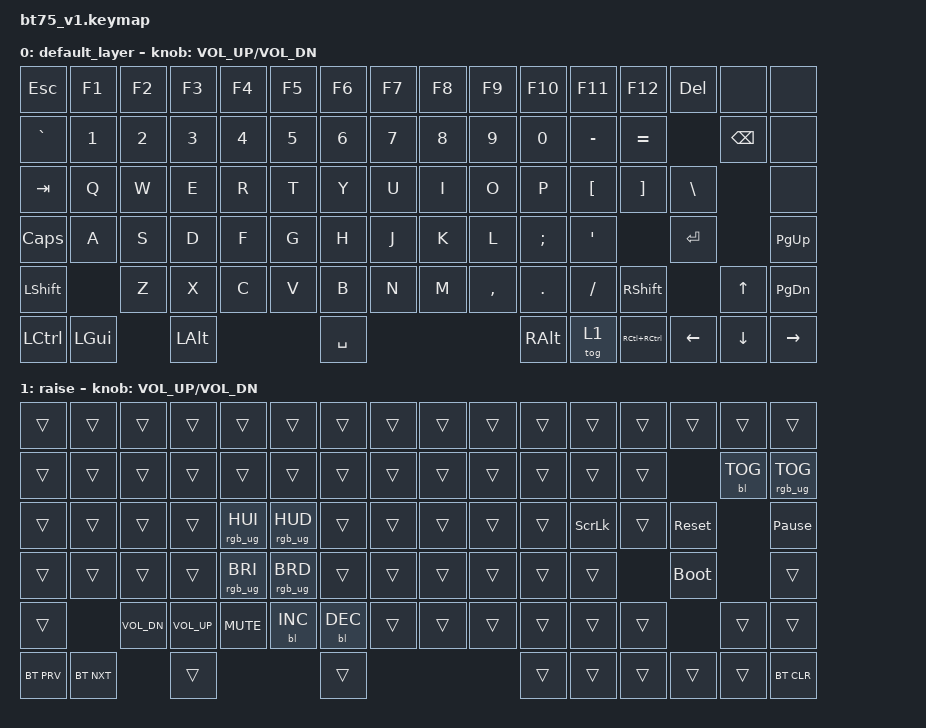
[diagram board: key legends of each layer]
#include <behaviors.dtsi>
#include <dt-bindings/zmk/backlight.h>
#include <dt-bindings/zmk/bt.h>
#include <dt-bindings/zmk/keys.h>
#include <dt-bindings/zmk/rgb.h>

#define ANSI

//#define ISO
//#define ALL_1U

/ {
    chosen {
        #ifdef ANSI

        zmk,physical-layout = &layout_75_ansi;

        #elif defined(ISO)

        zmk,physical-layout = &layout_75_iso;

        #elif defined(ALL_1U)

        zmk,physical-layout = &layout_75_all1u;

        #else
  #error "Layout not defined, please define a layout using by uncommenting the appropriate line in bt75_v1.keymap"
  #endif
    };

    keymap {
        compatible = "zmk,keymap";

        #ifdef ANSI

        default_layer {
            // ------------------------------------------------------------------------------------------------
            // | ESC | F1  | F2  | F3  | F4  | F5  | F6  | F7  | F9  | F9  | F10 | F11 | F12 |PSCRN|HOME| END |
            // |GRAVE|  1  |  2  |  3  |  4  |  5  |  6  |  7  |  8  |  9  |  0  |  -  |  =  |   BSPC   | DEL |
            // | TAB   |  Q  |  W  |  E  |  R  |  T  |  Y  |  U  |  I  |  O  |  P  |  [  |  ]  |   \    | INS |
            // | CAPS   |  A  |  S  |  D  |  F  |  G  |  H  |  J  |  K  |  L  |  ;  |  '  |    ENTER    | PGUP|
            // |  SHIFT   |  Z  |  X  |  C  |  V  |  B  |  N  |  M  |  ,  |  .  |  /  |   SHIFT   | UP  | PGDN|
            // |  CTL  |  WIN  |  ALT  |             SPACE                | ALT |  1  |RCTRL| LEFT| DOWN|RIGHT|
            // ------------------------------------------------------------------------------------------------

            bindings = <
&kp ESC    &kp F1    &kp F2  &kp F3    &kp F4  &kp F5  &kp F6     &kp F7  &kp F8  &kp F9     &kp F10        &kp F11    &kp F12        &kp DELETE  &none     &none
&kp GRAVE  &kp N1    &kp N2  &kp N3    &kp N4  &kp N5  &kp N6     &kp N7  &kp N8  &kp N9     &kp N0         &kp MINUS  &kp EQUAL                  &kp BSPC  &none
&kp TAB    &kp Q     &kp W   &kp E     &kp R   &kp T   &kp Y      &kp U   &kp I   &kp O      &kp P          &kp LBKT   &kp RBKT       &kp BSLH              &none
&kp CLCK   &kp A     &kp S   &kp D     &kp F   &kp G   &kp H      &kp J   &kp K   &kp L      &kp SEMI       &kp SQT                   &kp RET               &kp PG_UP
&kp LSHFT            &kp Z   &kp X     &kp C   &kp V   &kp B      &kp N   &kp M   &kp COMMA  &kp DOT        &kp FSLH   &kp RSHFT                  &kp UP    &kp PG_DN
&kp LCTRL  &kp LGUI          &kp LALT                  &kp SPACE                             &kp RIGHT_ALT  &tog 1     &kp RC(RCTRL)  &kp LEFT    &kp DOWN  &kp RIGHT
            >;

            sensor-bindings = <&inc_dec_kp C_VOL_UP C_VOL_DN>;
        };

        raise {
            // --------------------------------------------------------------------------------------------------
            // | ESC | F1  | F2  | F3  | F4  | F5  | F6  | F7  | F9  | F9  | F10 | F11 | F12 |PSCRN| HOME| END |
            // |GRAVE|  1  |  2  |  3  |  4  |  5  |  6  |  7  |  8  |  9  |  0  |  -  |  =  |  BL_TOG  |RGB_TOG|
            // | TAB  |  Q  |  W  |  E  | HUI | HUD |  Y  |  U  |  I  |  O  |  P  | SLCK|  ]  |  RESET   | P_BRK|
            // | CAPS  |  A  |  S  |  D  | BRI | BRD |  H  |  J  |  K  |  L  |  ;  |  '  |     BOOT      | PG_UP|
            // |  SHIFT   |VOLDN|VOLUP| MUTE|BLINC|BLDEC|  N  |  M  |  ,  |  .  |  /  |    SHIFT  | UP   | PG_DN|
            // | BT_PRV| BT_NXT|  ALT  |            SPACE               | ALT |  1  | CTRL | LEFT | DOWN |BT_CLR|
            // --------------------------------------------------------------------------------------------------

            bindings = <
&trans      &trans      &trans        &trans        &trans           &trans           &trans      &trans  &trans  &trans  &trans  &trans    &trans  &trans       &trans      &trans
&trans      &trans      &trans        &trans        &trans           &trans           &trans      &trans  &trans  &trans  &trans  &trans    &trans               &bl BL_TOG  &rgb_ug RGB_TOG
&trans      &trans      &trans        &trans        &rgb_ug RGB_HUI  &rgb_ug RGB_HUD  &trans      &trans  &trans  &trans  &trans  &kp SLCK  &trans  &sys_reset               &kp PAUSE_BREAK
&trans      &trans      &trans        &trans        &rgb_ug RGB_BRI  &rgb_ug RGB_BRD  &trans      &trans  &trans  &trans  &trans  &trans            &bootloader              &trans
&trans                  &kp C_VOL_DN  &kp C_VOL_UP  &kp C_MUTE       &bl BL_INC       &bl BL_DEC  &trans  &trans  &trans  &trans  &trans    &trans               &trans      &trans
&bt BT_PRV  &bt BT_NXT                &trans                                          &trans                              &trans  &trans    &trans  &trans       &trans      &bt BT_CLR
            >;

            sensor-bindings = <&inc_dec_kp C_VOL_UP C_VOL_DN>;
        };

        #elif defined(ISO)

        default_layer {
            // ------------------------------------------------------------------------------------------------
            // | ESC | F1  | F2  | F3  | F4  | F5  | F6  | F7  | F9  | F9  | F10 | F11 | F12 |PSCRN|HOME| END |
            // |GRAVE|  1  |  2  |  3  |  4  |  5  |  6  |  7  |  8  |  9  |  0  |  -  |  =  |   BSPC   | DEL |
            // | TAB   |  Q  |  W  |  E  |  R  |  T  |  Y  |  U  |  I  |  O  |  P  |  [  |  ]  |        | INS |
            // | CAPS   |  A  |  S  |  D  |  F  |  G  |  H  |  J  |  K  |  L  |  ;  |  '  |  #  | ENTER | PGUP|
            // |SHIFT |  \  |  Z  |  X  |  C  |  V  |  B  |  N  |  M  |  ,  |  .  |  /  |  SHIFT  | UP  | PGDN|
            // |  CTL  |  WIN  |  ALT  |             SPACE                | ALT |  1  |RCTRL| LEFT| DOWN|RIGHT|
            // ------------------------------------------------------------------------------------------------

            bindings = <
&kp ESC    &kp F1     &kp F2           &kp F3    &kp F4  &kp F5  &kp F6    &kp F7  &kp F8  &kp F9    &kp F10    &kp F11          &kp F12    &kp PSCRN  &kp HOME   &kp END
&kp GRAVE  &kp N1     &kp N2           &kp N3    &kp N4  &kp N5  &kp N6    &kp N7  &kp N8  &kp N9    &kp N0     &kp MINUS        &kp EQUAL             &kp BSPC   &kp DEL
&kp TAB    &kp Q      &kp W            &kp E     &kp R   &kp T   &kp Y     &kp U   &kp I   &kp O     &kp P      &kp LBKT         &kp RBKT   &kp INS               &kp CLCK
&kp A      &kp S      &kp D            &kp F     &kp G   &kp H   &kp J     &kp K   &kp L   &kp SEMI  &kp SQT    &kp NON_US_HASH             &kp RET               &kp PG_UP
&kp LSHFT             &kp NON_US_BSLH  &kp Z     &kp X   &kp C   &kp V     &kp B   &kp N   &kp M     &kp COMMA  &kp DOT          &kp FSLH              &kp RSHFT  &kp UP
&kp PG_DN  &kp LCTRL                   &kp LGUI                  &kp LALT                            &kp SPACE  &kp RALT         &mo 1      &kp RCTRL  &kp LEFT   &kp DOWN
            >;

            sensor-bindings = <&inc_dec_kp C_VOL_UP C_VOL_DN>;
        };

        raise {
            // --------------------------------------------------------------------------------------------------
            // | ESC | F1  | F2  | F3  | F4  | F5  | F6  | F7  | F9  | F9  | F10 | F11 | F12 |PSCRN|HOME| END |
            // |GRAVE|  1  |  2  |  3  |  4  |  5  |  6  |  7  |  8  |  9  |  0  |  -  |  =  |  BL_TOG  |RGB_TOG|
            // | TAB  |  Q  |  W  |  E  | HUI | HUD |  Y  |  U  |  I  |  O  |  P  | SLCK|  ]  |          | P_BRK|
            // | CAPS  |  A  |  S  |  D  | BRI | BRD |  H  |  J  |  K  |  L  |  ;  |  '  |RESET|   BOOT  | PG_UP|
            // |SHIFT |  \  |VOLDN|VOLUP| MUTE|BLINC|BLDEC|  N  |  M  |  ,  |  .  |  /  |  SHIFT  | UP   | PG_DN|
            // | BT_PRV| BT_NXT|  ALT  |            SPACE               | ALT |  1  | CTRL | LEFT | DOWN |BT_CLR|
            // --------------------------------------------------------------------------------------------------

            bindings = <
&trans  &trans      &trans  &trans           &trans           &trans           &trans      &trans      &trans  &trans  &trans  &trans      &trans  &trans           &trans      &trans
&trans  &trans      &trans  &trans           &trans           &trans           &trans      &trans      &trans  &trans  &trans  &trans      &trans                   &bl BL_TOG  &rgb_ug RGB_TOG
&trans  &trans      &trans  &trans           &rgb_ug RGB_HUI  &rgb_ug RGB_HUD  &trans      &trans      &trans  &trans  &trans  &kp SLCK    &trans  &kp PAUSE_BREAK              &trans
&trans  &trans      &trans  &rgb_ug RGB_BRI  &rgb_ug RGB_BRD  &trans           &trans      &trans      &trans  &trans  &trans  &sys_reset          &bootloader                  &trans
&trans              &trans  &kp C_VOL_DN     &kp C_VOL_UP     &kp C_MUTE       &bl BL_INC  &bl BL_DEC  &trans  &trans  &trans  &trans      &trans                   &trans      &trans
&trans  &bt BT_PRV          &bt BT_NXT                                         &trans                                  &trans  &trans      &trans  &trans           &trans      &trans
            >;

            sensor-bindings = <&inc_dec_kp C_VOL_UP C_VOL_DN>;
        };

        #elif defined(ALL_1U)

        default_layer {
            // -------------------------------------------------------------------------------------------------
            // | ESC | F1  | F2  | F3  | F4  | F5  | F6  | F7  | F9  | F9  | F10 | F11 | F12 |PSCRN| P_B | INS |
            // |GRAVE|  1  |  2  |  3  |  4  |  5  |  6  |  7  |  8  |  9  |  0  |  -  |  =  |BSPC | DEL | HOME|
            // | TAB    |  Q  |  W  |  E  |  R  |  T  |  Y  |  U  |  I  |  O  |  P  |  [  |  ]  |   \    | END |
            // | CAPS    |  A  |  S  |  D  |  F  |  G  |  H  |  J  |  K  |  L  |  ;  |  '  |     ENTER   | PGUP|
            // |SHIFT|NONE |  Z  |  X  |  C  |  V  |  B  |  N  |  M  |  ,  |  .  |  /  |SHIFT|NONE |  UP | PGDN|
            // |  CTL  |  WIN  |  ALT  |              SPACE                | ALT |  1  |RCTRL| LEFT| DOWN|RIGHT|
            // -------------------------------------------------------------------------------------------------

            bindings = <
&kp ESC    &kp F1    &kp F2     &kp F3     &kp F4  &kp F5  &kp F6     &kp F7  &kp F8  &kp F9  &kp F10   &kp F11    &kp F12    &kp PSCRN  &kp PAUSE_BREAK  &kp INS
&kp GRAVE  &kp N1    &kp N2     &kp N3     &kp N4  &kp N5  &kp N6     &kp N7  &kp N8  &kp N9  &kp N0    &kp MINUS  &kp EQUAL             &kp BSPC         &kp DEL
&kp HOME   &kp TAB   &kp Q      &kp W      &kp E   &kp R   &kp T      &kp Y   &kp U   &kp I   &kp O     &kp P      &kp LBKT   &kp RBKT                    &kp BSLH
&kp END    &kp CLCK  &kp A      &kp S      &kp D   &kp F   &kp G      &kp H   &kp J   &kp K   &kp L     &kp SEMI              &kp SQT                     &kp RET
&kp PG_UP            &kp LSHFT  &none      &kp Z   &kp X   &kp C      &kp V   &kp B   &kp N   &kp M     &kp COMMA  &kp DOT               &kp FSLH         &kp RSHFT
&none      &kp UP               &kp PG_DN                  &kp LCTRL                          &kp LGUI  &kp LALT   &kp SPACE  &kp LALT   &mo 1            &kp RCTRL
            >;

            sensor-bindings = <&inc_dec_kp C_VOL_UP C_VOL_DN>;
        };

        raise {
            // --------------------------------------------------------------------------------------------------
            // | ESC | F1  | F2  | F3  | F4  | F5  | F6  | F7  | F9  | F9  | F10 | F11 | F12 |PSCRN| P_B | INS |
            // |GRAVE|  1  |  2  |  3  |  4  |  5  |  6  |  7  |  8  |  9  |  0  |  -  |  =  |BL_TOG|RGB_TOG|HOME|
            // | TAB  |  Q  |  W  |  E  | HUI | HUD |  Y  |  U  |  I  |  O  |  P  | SLCK|  ]  |  RESET   | END  |
            // | CAPS  |  A  |  S  |  D  | BRI | BRD |  H  |  J  |  K  |  L  |  ;  |  '  |      BOOT     | PGUP |
            // |SHIFT| NONE|VOLDN|VOLUP| MUTE|BLINC|BLDEC|  N  |  M  |  ,  |  .  |  /  |SHIFT| NONE|  UP | PGDN |
            // | BT_PRV| BT_NXT|  ALT  |            SPACE                 | ALT |  1  | CTRL| LEFT| DOWN |BT_CLR|
            // --------------------------------------------------------------------------------------------------

            bindings = <
&trans  &trans  &trans  &trans  &trans        &trans           &trans           &trans      &trans      &trans  &trans      &trans  &trans    &trans  &trans      &trans
&trans  &trans  &trans  &trans  &trans        &trans           &trans           &trans      &trans      &trans  &trans      &trans  &trans            &bl BL_TOG  &rgb_ug RGB_TOG
&trans  &trans  &trans  &trans  &trans        &rgb_ug RGB_HUI  &rgb_ug RGB_HUD  &trans      &trans      &trans  &trans      &trans  &kp SLCK  &trans              &sys_reset
&trans  &trans  &trans  &trans  &trans        &rgb_ug RGB_BRI  &rgb_ug RGB_BRD  &trans      &trans      &trans  &trans      &trans            &trans              &bootloader
&trans          &trans  &trans  &kp C_VOL_DN  &kp C_VOL_UP     &kp C_MUTE       &bl BL_INC  &bl BL_DEC  &trans  &trans      &trans  &trans            &trans      &trans
&trans  &trans          &trans                                 &bt BT_PRV                                       &bt BT_NXT  &trans  &trans    &trans  &trans      &trans
            >;

            sensor-bindings = <&inc_dec_kp C_VOL_UP C_VOL_DN>;
        };

        #else
    #error "Layout not defined, please define a layout by uncommenting the appropriate line in bt75.keymap"
    #endif
    };
};
